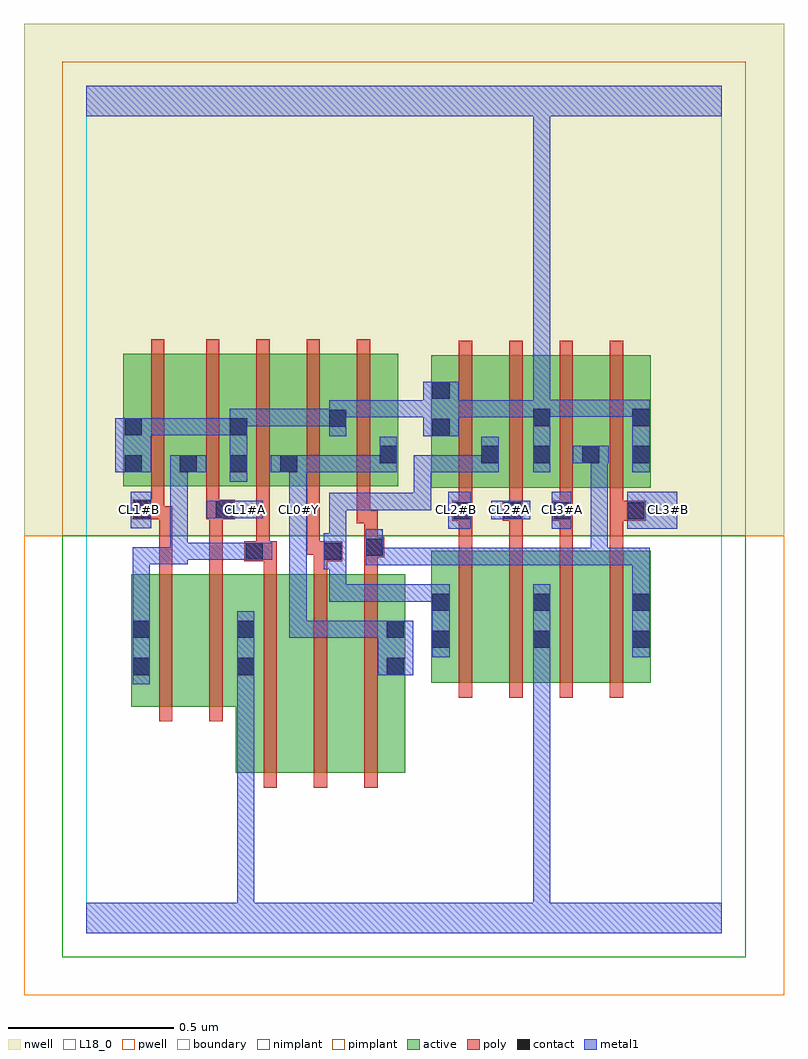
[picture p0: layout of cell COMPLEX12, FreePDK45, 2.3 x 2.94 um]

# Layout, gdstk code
import gdstk
lib = gdstk.Library(unit=1e-6, precision=1e-09)
def R(c, l, rs):  # rectangles x0, y0, x1, y1
    for r in rs: c.add(gdstk.rectangle(r[:2], r[2:], *l))
def A(c, l, x, y, w, h, nx, ny, dx, dy):  # array of equal rectangles
    R(c, l, [(x+i*dx, y+j*dy, x+i*dx+w, y+j*dy+h) for i in range(nx) for j in range(ny)])
active = (1, 0)
pwell = (2, 0)
nwell = (3, 0)
nimplant = (4, 0)
pimplant = (5, 0)
poly = (9, 0)
contact = (10, 0)
metal1 = (11, 0)
L18_0 = (18, 0)
boundary = (235, 0)

complex12 = lib.new_cell('COMPLEX12')
A(complex12, active, 0.278, 1.388, 0.06, 0.256, 3, 1, 0.152, 0)
R(complex12, active, [(0.452,0.484,0.632,1.084), (0.452,0.484,0.512,1.062), (0.632,0.484,0.784,1.084), (0.784,0.484,0.964,1.084), (0.904,0.556,0.964,1.084), (0.136,0.684,0.196,1.084), (0.136,0.684,0.316,1.084), (0.316,0.684,0.512,1.084), (1.042,0.756,1.102,1.156), (1.042,0.756,1.222,1.156), (1.222,0.756,1.406,1.156), (1.346,0.756,1.406,1.156), (1.346,0.756,1.526,1.156), (1.526,0.756,1.706,1.156), (1.646,0.756,1.706,1.156), (1.042,1.346,1.102,1.746), (1.042,1.346,1.25,1.746), (1.19,1.346,1.406,1.746), (1.346,1.346,1.554,1.746), (1.494,1.346,1.706,1.746), (1.646,1.346,1.706,1.644), (0.112,1.35,0.172,1.644), (0.112,1.35,0.338,1.75), (0.278,1.35,0.49,1.75), (0.43,1.35,0.642,1.75), (0.582,1.35,0.79,1.75), (0.73,1.35,0.942,1.75), (0.882,1.35,0.942,1.644), (1.19,1.416,1.25,1.644), (1.346,1.416,1.406,1.644), (1.494,1.416,1.554,1.644), (0.73,1.526,0.79,1.644)])
R(complex12, pwell, [(-0.188,-0.188,2.108,1.2)])
R(complex12, nwell, [(-0.188,1.2,2.108,2.748)])
R(complex12, nimplant, [(-0.072,-0.072,1.992,1.2)])
R(complex12, pimplant, [(-0.072,1.2,1.992,2.632)])
A(complex12, poly, 0.536, 0.44, 0.04, 0.688, 3, 1, 0.152, 0)
A(complex12, poly, 1.126, 0.712, 0.04, 0.488, 4, 2, 0.152, 0.59)
A(complex12, poly, 1.126, 1.16, 0.04, 0.126, 4, 1, 0.152, 0)
A(complex12, poly, 1.106, 1.246, 0.06, 0.06, 3, 1, 0.152, 0)
A(complex12, poly, 1.126, 1.266, 0.04, 0.076, 4, 1, 0.152, 0)
A(complex12, poly, 0.362, 1.306, 0.04, 0.488, 4, 1, 0.152, 0)
R(complex12, poly, [(0.22,0.64,0.26,1.128), (0.372,0.64,0.412,1.128), (0.22,1.088,0.26,1.29), (0.372,1.088,0.412,1.29), (0.536,1.088,0.576,1.164), (0.688,1.088,0.728,1.164), (0.84,1.088,0.88,1.176), (0.478,1.124,0.576,1.184), (0.688,1.124,0.774,1.184), (0.84,1.136,0.9,1.196), (0.514,1.144,0.554,1.184), (0.514,1.144,0.554,1.184), (0.514,1.144,0.554,1.346), (0.666,1.144,0.728,1.184), (0.666,1.144,0.706,1.346), (0.688,1.144,0.728,1.184), (0.84,1.156,0.88,1.278), (0.818,1.238,0.858,1.346), (0.818,1.238,0.88,1.278), (1.126,1.246,1.166,1.286), (1.126,1.246,1.166,1.286), (1.278,1.246,1.318,1.286), (1.278,1.246,1.318,1.286), (1.43,1.246,1.47,1.286), (1.43,1.246,1.47,1.286), (1.582,1.246,1.622,1.286), (1.582,1.246,1.622,1.286), (1.582,1.246,1.69,1.306), (0.14,1.25,0.236,1.31), (0.196,1.25,0.236,1.29), (0.196,1.25,0.26,1.29), (0.362,1.25,0.448,1.31), (0.372,1.25,0.412,1.29), (0.372,1.25,0.412,1.29), (0.196,1.27,0.236,1.346), (0.362,1.27,0.402,1.346), (0.196,1.306,0.236,1.794)])
A(complex12, contact, 1.11, 1.25, 0.052, 0.052, 3, 1, 0.152, 0)
A(complex12, contact, 0.282, 1.392, 0.052, 0.052, 3, 1, 0.152, 0)
R(complex12, contact, [(0.14,0.78,0.192,0.832), (0.456,0.78,0.508,0.832), (0.908,0.78,0.96,0.832), (1.046,0.862,1.098,0.914), (1.35,0.862,1.402,0.914), (1.65,0.862,1.702,0.914), (0.14,0.892,0.192,0.944), (0.456,0.892,0.508,0.944), (0.908,0.892,0.96,0.944), (1.046,0.974,1.098,1.026), (1.35,0.974,1.402,1.026), (1.65,0.974,1.702,1.026), (0.482,1.128,0.534,1.18), (0.718,1.128,0.77,1.18), (0.844,1.14,0.896,1.192), (1.634,1.25,1.686,1.302), (0.144,1.254,0.196,1.306), (0.392,1.254,0.444,1.306), (0.116,1.392,0.168,1.444), (0.886,1.42,0.938,1.472), (1.194,1.42,1.246,1.472), (1.35,1.42,1.402,1.472), (1.498,1.42,1.55,1.472), (1.65,1.42,1.702,1.472), (1.046,1.502,1.098,1.554), (0.116,1.504,0.168,1.556), (0.434,1.504,0.486,1.556), (0.734,1.53,0.786,1.582), (1.35,1.532,1.402,1.584), (1.65,1.532,1.702,1.584), (1.046,1.614,1.098,1.666)])
R(complex12, metal1, [(0,0,1.92,0.092), (0.456,0.04,0.508,0.092), (0.456,0.04,0.508,0.092), (0.456,0.04,0.508,0.804), (1.35,0.04,1.402,0.092), (1.35,0.04,1.402,0.092), (1.35,0.04,1.402,0.092), (1.35,0.04,1.402,0.092), (1.35,0.04,1.402,0.092), (1.35,0.04,1.402,0.092), (1.35,0.04,1.402,0.092), (1.35,0.04,1.402,0.092), (1.35,0.04,1.402,0.092), (1.35,0.04,1.402,0.092), (1.35,0.04,1.402,0.886), (0.14,0.752,0.192,0.972), (0.456,0.752,0.508,0.804), (0.456,0.752,0.508,0.804), (0.456,0.752,0.508,0.804), (0.456,0.752,0.508,0.804), (0.456,0.752,0.508,0.804), (0.456,0.752,0.508,0.804), (0.456,0.752,0.508,0.972), (0.88,0.78,0.988,0.944), (1.046,0.834,1.098,1.054), (1.35,0.834,1.402,0.886), (1.35,0.834,1.402,0.886), (1.35,0.834,1.402,1.054), (1.65,0.834,1.702,1.054), (0.614,0.892,0.666,0.944), (0.614,0.892,0.666,0.944), (0.614,0.892,0.666,0.944), (0.614,0.892,0.776,0.944), (0.614,0.892,0.666,1.278), (0.724,0.892,0.776,0.944), (0.724,0.892,0.776,0.944), (0.724,0.892,0.776,0.944), (0.724,0.892,0.932,0.944), (0.88,0.892,0.932,0.944), (0.88,0.892,0.932,0.944), (0.14,0.92,0.192,1.166), (0.734,1.002,0.786,1.054), (0.734,1.002,0.932,1.054), (0.734,1.002,0.786,1.208), (0.88,1.002,0.932,1.054), (0.88,1.002,0.932,1.054), (0.88,1.002,0.932,1.054), (0.88,1.002,1.098,1.054), (1.65,1.002,1.702,1.164), (0.718,1.1,0.77,1.208), (0.844,1.112,0.896,1.164), (0.844,1.112,0.896,1.164), (0.844,1.112,0.896,1.22), (0.844,1.112,1.098,1.164), (1.046,1.112,1.098,1.164), (1.046,1.112,1.098,1.164), (1.046,1.112,1.098,1.164), (1.046,1.112,1.292,1.164), (1.24,1.112,1.292,1.164), (1.24,1.112,1.292,1.164), (1.24,1.112,1.292,1.164), (1.24,1.112,1.412,1.164), (1.36,1.112,1.412,1.164), (1.36,1.112,1.576,1.164), (1.524,1.112,1.576,1.164), (1.524,1.112,1.576,1.164), (1.524,1.112,1.576,1.164), (1.524,1.112,1.576,1.164), (1.524,1.112,1.576,1.164), (1.524,1.112,1.702,1.164), (1.524,1.112,1.576,1.472), (1.65,1.112,1.702,1.164), (1.65,1.112,1.702,1.164), (1.65,1.112,1.702,1.164), (0.14,1.114,0.192,1.166), (0.14,1.114,0.192,1.166), (0.14,1.114,0.192,1.166), (0.14,1.114,0.306,1.166), (0.254,1.114,0.306,1.18), (0.254,1.128,0.306,1.18), (0.254,1.128,0.306,1.18), (0.254,1.128,0.486,1.18), (0.254,1.128,0.306,1.444), (0.434,1.128,0.486,1.18), (0.434,1.128,0.506,1.18), (0.454,1.128,0.562,1.18), (0.718,1.156,0.786,1.208), (0.734,1.156,0.786,1.208), (0.734,1.156,0.786,1.33), (1.094,1.222,1.162,1.334), (1.406,1.222,1.466,1.334), (1.634,1.222,1.786,1.334), (0.134,1.224,0.196,1.334), (0.614,1.226,0.666,1.334), (1.224,1.25,1.342,1.306), (0.364,1.254,0.534,1.306), (0.734,1.278,0.786,1.33), (0.734,1.278,0.932,1.33), (0.88,1.278,0.932,1.33), (0.88,1.278,0.932,1.33), (0.88,1.278,0.932,1.33), (0.88,1.278,1.042,1.33), (0.99,1.278,1.042,1.33), (0.99,1.278,1.042,1.444), (0.614,1.282,0.666,1.334), (0.614,1.282,0.666,1.334), (0.614,1.282,0.666,1.444), (0.434,1.364,0.486,1.584), (0.088,1.392,0.196,1.556), (0.254,1.392,0.306,1.444), (0.254,1.392,0.306,1.444), (0.254,1.392,0.362,1.444), (0.558,1.392,0.666,1.444), (0.614,1.392,0.776,1.444), (0.724,1.392,0.776,1.444), (0.724,1.392,0.776,1.444), (0.724,1.392,0.776,1.444), (0.724,1.392,0.932,1.444), (0.88,1.392,0.932,1.444), (0.88,1.392,0.938,1.444), (0.886,1.392,0.938,1.5), (0.99,1.392,1.042,1.444), (0.99,1.392,1.1,1.444), (1.048,1.392,1.1,1.444), (1.048,1.392,1.246,1.444), (1.194,1.392,1.246,1.5), (1.35,1.392,1.402,1.612), (1.65,1.392,1.702,1.612), (1.47,1.42,1.578,1.472), (0.734,1.502,0.786,1.61), (1.018,1.502,1.126,1.666), (0.144,1.504,0.196,1.556), (0.144,1.504,0.196,1.556), (0.144,1.504,0.376,1.556), (0.324,1.504,0.376,1.556), (0.324,1.504,0.376,1.556), (0.324,1.504,0.376,1.556), (0.324,1.504,0.486,1.556), (0.434,1.532,0.486,1.584), (0.434,1.532,0.486,1.584), (0.434,1.532,0.596,1.584), (0.544,1.532,0.596,1.584), (0.544,1.532,0.786,1.584), (0.734,1.532,0.786,1.584), (0.734,1.532,0.786,1.584), (0.734,1.558,0.932,1.61), (0.88,1.558,0.932,1.61), (0.88,1.558,0.932,1.61), (0.88,1.558,0.932,1.61), (0.88,1.558,1.07,1.61), (1.074,1.558,1.126,1.61), (1.074,1.558,1.126,1.61), (1.074,1.558,1.272,1.61), (1.22,1.558,1.272,1.61), (1.22,1.558,1.272,1.61), (1.22,1.558,1.272,1.61), (1.22,1.558,1.402,1.61), (1.35,1.56,1.402,1.612), (1.35,1.56,1.402,1.612), (1.35,1.56,1.402,1.612), (1.35,1.56,1.402,1.612), (1.35,1.56,1.402,1.612), (1.35,1.56,1.402,1.612), (1.35,1.56,1.402,1.612), (1.35,1.56,1.402,1.612), (1.35,1.56,1.402,1.612), (1.35,1.56,1.402,1.612), (1.35,1.56,1.402,1.612), (1.35,1.56,1.402,1.612), (1.35,1.56,1.592,1.612), (1.35,1.56,1.402,2.52), (1.54,1.56,1.592,1.612), (1.54,1.56,1.702,1.612), (1.65,1.56,1.702,1.612), (1.65,1.56,1.702,1.612), (0,2.468,1.92,2.56), (1.35,2.468,1.402,2.52), (1.35,2.468,1.402,2.52), (1.35,2.468,1.402,2.52), (1.35,2.468,1.402,2.52), (1.35,2.468,1.402,2.52), (1.35,2.468,1.402,2.52)])
A(complex12, L18_0, 1.094, 1.254, 0.052, 0.052, 3, 1, 0.16, 0)
R(complex12, L18_0, [(0,0,1.92,0.092), (0.456,0.04,0.508,0.092), (0.456,0.04,0.508,0.092), (0.456,0.04,0.508,0.804), (1.35,0.04,1.402,0.092), (1.35,0.04,1.402,0.092), (1.35,0.04,1.402,0.092), (1.35,0.04,1.402,0.092), (1.35,0.04,1.402,0.092), (1.35,0.04,1.402,0.092), (1.35,0.04,1.402,0.092), (1.35,0.04,1.402,0.092), (1.35,0.04,1.402,0.092), (1.35,0.04,1.402,0.092), (1.35,0.04,1.402,0.886), (0.456,0.752,0.508,0.804), (0.456,0.752,0.508,0.804), (0.456,0.752,0.508,0.804), (0.456,0.752,0.508,0.804), (0.456,0.752,0.508,0.804), (0.456,0.752,0.508,0.804), (0.456,0.752,0.508,0.972), (0.88,0.78,0.988,0.944), (1.35,0.834,1.402,0.886), (1.35,0.834,1.402,0.886), (1.35,0.834,1.402,1.054), (0.614,0.892,0.666,0.944), (0.614,0.892,0.666,0.944), (0.614,0.892,0.666,0.944), (0.614,0.892,0.776,0.944), (0.614,0.892,0.666,1.278), (0.724,0.892,0.776,0.944), (0.724,0.892,0.776,0.944), (0.724,0.892,0.776,0.944), (0.724,0.892,0.932,0.944), (0.88,0.892,0.932,0.944), (0.88,0.892,0.932,0.944), (1.094,1.222,1.162,1.334), (1.406,1.222,1.466,1.334), (1.634,1.222,1.786,1.334), (0.134,1.224,0.196,1.334), (0.614,1.226,0.666,1.334), (1.224,1.25,1.342,1.306), (0.134,1.254,0.186,1.306), (0.364,1.254,0.534,1.306), (0.454,1.254,0.506,1.306), (0.614,1.254,0.666,1.306), (1.734,1.254,1.786,1.306), (0.614,1.282,0.666,1.334), (0.614,1.282,0.666,1.334), (0.614,1.282,0.666,1.444), (0.434,1.364,0.486,1.584), (0.088,1.392,0.196,1.556), (0.558,1.392,0.666,1.444), (0.614,1.392,0.776,1.444), (0.724,1.392,0.776,1.444), (0.724,1.392,0.776,1.444), (0.724,1.392,0.776,1.444), (0.724,1.392,0.932,1.444), (0.88,1.392,0.932,1.444), (0.88,1.392,0.938,1.444), (0.886,1.392,0.938,1.5), (1.35,1.392,1.402,1.612), (1.65,1.392,1.702,1.612), (0.734,1.502,0.786,1.61), (1.018,1.502,1.126,1.666), (0.144,1.504,0.196,1.556), (0.144,1.504,0.196,1.556), (0.144,1.504,0.376,1.556), (0.324,1.504,0.376,1.556), (0.324,1.504,0.376,1.556), (0.324,1.504,0.376,1.556), (0.324,1.504,0.486,1.556), (0.434,1.532,0.486,1.584), (0.434,1.532,0.486,1.584), (0.434,1.532,0.596,1.584), (0.544,1.532,0.596,1.584), (0.544,1.532,0.786,1.584), (0.734,1.532,0.786,1.584), (0.734,1.532,0.786,1.584), (0.734,1.558,0.932,1.61), (0.88,1.558,0.932,1.61), (0.88,1.558,0.932,1.61), (0.88,1.558,0.932,1.61), (0.88,1.558,1.07,1.61), (1.074,1.558,1.126,1.61), (1.074,1.558,1.126,1.61), (1.074,1.558,1.272,1.61), (1.22,1.558,1.272,1.61), (1.22,1.558,1.272,1.61), (1.22,1.558,1.272,1.61), (1.22,1.558,1.402,1.61), (1.35,1.56,1.402,1.612), (1.35,1.56,1.402,1.612), (1.35,1.56,1.402,1.612), (1.35,1.56,1.402,1.612), (1.35,1.56,1.402,1.612), (1.35,1.56,1.402,1.612), (1.35,1.56,1.402,1.612), (1.35,1.56,1.402,1.612), (1.35,1.56,1.402,1.612), (1.35,1.56,1.402,1.612), (1.35,1.56,1.402,1.612), (1.35,1.56,1.402,1.612), (1.35,1.56,1.592,1.612), (1.35,1.56,1.402,2.52), (1.54,1.56,1.592,1.612), (1.54,1.56,1.702,1.612), (1.65,1.56,1.702,1.612), (1.65,1.56,1.702,1.612), (0,2.468,1.92,2.56), (1.35,2.468,1.402,2.52), (1.35,2.468,1.402,2.52), (1.35,2.468,1.402,2.52), (1.35,2.468,1.402,2.52), (1.35,2.468,1.402,2.52), (1.35,2.468,1.402,2.52)])
R(complex12, boundary, [(0,0,1.92,2.56)])
complex12.add(gdstk.Label('CL0#Y', (0.64,1.28), layer=11, texttype=0))
complex12.add(gdstk.Label('CL1#A', (0.48,1.28), layer=11, texttype=0))
complex12.add(gdstk.Label('CL1#B', (0.16,1.28), layer=11, texttype=0))
complex12.add(gdstk.Label('CL2#A', (1.28,1.28), layer=11, texttype=0))
complex12.add(gdstk.Label('CL2#B', (1.12,1.28), layer=11, texttype=0))
complex12.add(gdstk.Label('CL3#A', (1.44,1.28), layer=11, texttype=0))
complex12.add(gdstk.Label('CL3#B', (1.76,1.28), layer=11, texttype=0))

lib.write_gds('COMPLEX12.gds')
